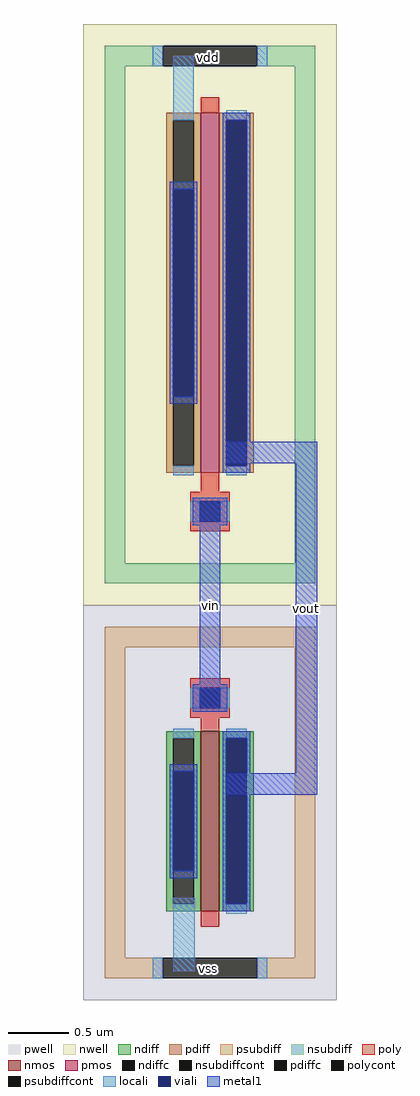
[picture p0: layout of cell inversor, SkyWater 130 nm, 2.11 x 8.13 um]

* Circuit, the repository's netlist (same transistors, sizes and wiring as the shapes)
* NGSPICE file created from inversor.ext - technology: sky130A

.subckt sky130_fd_pr__pfet_01v8_REGW27 B D S G
X0 S G D B sky130_fd_pr__pfet_01v8 ad=0.87 pd=6.58 as=0.87 ps=6.58 w=3 l=0.15
.ends

.subckt sky130_fd_pr__nfet_01v8_2SFZUD B D S G
X0 S G D B sky130_fd_pr__nfet_01v8 ad=0.435 pd=3.58 as=0.435 ps=3.58 w=1.5 l=0.15
.ends

.subckt inversor vin vout vdd vss
Xsky130_fd_pr__pfet_01v8_REGW27_0 vdd vout vdd vin sky130_fd_pr__pfet_01v8_REGW27
Xsky130_fd_pr__nfet_01v8_2SFZUD_0 vss vout vss vin sky130_fd_pr__nfet_01v8_2SFZUD
.ends

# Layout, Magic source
magic
tech sky130A
magscale 1 2
<< locali >>
rect 642 2015 676 2108
rect 642 583 678 705
<< metal1 >>
rect 728 1429 882 1465
rect 686 1021 720 1366
rect 846 913 882 1429
rect 732 877 882 913
use sky130_fd_pr__nfet_01v8_2SFZUD  sky130_fd_pr__nfet_01v8_2SFZUD_0
transform -1 0 703 0 1 864
box -211 -329 211 329
use sky130_fd_pr__pfet_01v8_REGW27  sky130_fd_pr__pfet_01v8_REGW27_0
transform -1 0 703 0 -1 1677
box -211 -484 211 484
<< labels >>
flabel metal1 s 704 1192 704 1192 0 FreeSans 480 0 0 0 vin
port 0 nsew
flabel metal1 s 864 1188 864 1188 0 FreeSans 480 0 0 0 vout
port 1 nsew
flabel locali 701 2106 701 2106 0 FreeSans 480 0 0 0 vdd
port 2 nsew
flabel locali s 700 587 700 587 0 FreeSans 480 0 0 0 vss
port 3 nsew
<< end >>

# cell sky130_fd_pr__nfet_01v8_2SFZUD: kit device sky130_fd_pr__nfet_01v8, w 1.5 l 0.150 m 1 nf 1 diffcov 100 polycov 100 guard 1 glc 0 grc 0 gtc 0 gbc 1 tbcov 100 rlcov 100 topc 1 botc 0 poverlap 0 doverlap 1 lmin 0.15 wmin 0.42 class mosfet compatible {sky130_fd_pr__nfet_01v8 sky130_fd_pr__nfet_01v8_lvt sky130_fd_bs_flash__special_sonosfet_star sky130_fd_pr__nfet_g5v0d10v5 sky130_fd_pr__nfet_05v0_nvt sky130_fd_pr__nfet_03v3_nvt} full_metal 0 viasrc 60 viadrn 100 viagate 100 viagb 0 viagr 0 viagl 0 viagt 0 doports 1

# cell sky130_fd_pr__pfet_01v8_REGW27: kit device sky130_fd_pr__pfet_01v8, w 3 l 0.15 m 1 nf 1 diffcov 100 polycov 100 guard 1 glc 0 grc 0 gtc 0 gbc 1 tbcov 100 rlcov 100 topc 1 botc 0 poverlap 0 doverlap 1 lmin 0.15 wmin 0.42 class mosfet compatible {sky130_fd_pr__pfet_01v8 sky130_fd_pr__pfet_01v8_lvt sky130_fd_pr__pfet_01v8_hvt sky130_fd_pr__pfet_g5v0d10v5} full_metal 0 viasrc 60 viadrn 100 viagate 100 viagb 0 viagr 0 viagl 0 viagt 0 doports 1
